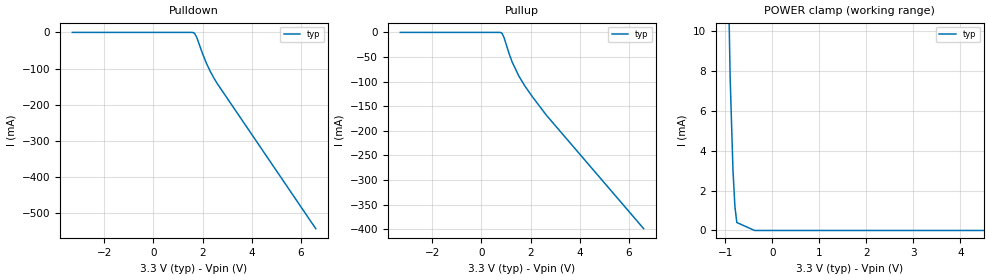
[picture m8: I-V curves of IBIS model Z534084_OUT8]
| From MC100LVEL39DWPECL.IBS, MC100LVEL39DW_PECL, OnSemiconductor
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| (C) COPYRIGHT 1993-2000
| MENTOR GRAPHICS CORPORATION
| ICX STANDARD LIBRARY, ICX PROJECT MODELING,
| ICX CUSTOM MODELING, ICX VENDOR MODEL
| ALL RIGHTS RESERVED.
| THE FOLLOWING ARE TRADEMARKS OR SERVICE MARKS OF
| MENTOR GRAPHICS CORPORATION:ICX (R), ICX STANDARD
| LIBRARY(R), ICX PROJECT MODELING(R), ICX CUSTOM
| MODELING(R), qualityIBIS(TM), MODELVIEWER(TM),
| AND MODELEDITOR(TM)
| ALL COPIES OF SOFTWARE, INCLUDING BUT NOT LIMITED TO
| ANY MODIFICATIONS, ENHANCEMENTS OR DERIVATIVE WORKS,
| MUST CONTAIN ALL MENTOR GRAPHICS CORPORATION'S
| NOTICES AND LEGENDS, INCLUDING THOSE EMBEDDED IN
| SOFTWARE AND THOSE AFFIXED TO SOFTWARE MEDIUM
| AND CONTAINER, AS RECEIVED FROM MENTOR GRAPHICS
| CORPORATION.
| Model Application Version 1.89 2/18/99.
[Model] Z534084_OUT8
Model_type Output_ECL
Vref=1.300V
Rref=50.00ohms
Cref=0.000F
Vmeas=2.207V
C_comp 8.000pF NA NA
| variable typ   min   max
[Voltage Range] 3.300V NA NA
[POWER Clamp Reference] 3.300V NA NA
[Pullup Reference] 3.300V NA NA
[Pulldown Reference] 3.300V NA NA
[GND Clamp Reference] 0.000V NA NA
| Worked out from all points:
|   POWER clamp passes 1 mA (typ) near -0.79 V on its own axis
[GND Clamp]
-3.3V     0A         NA         NA
6.6V      0A         NA         NA
[Pulldown]
-3.3V     0A         NA         NA
1.638V    -1.1mA     NA         NA
1.678V    -3.4mA     NA         NA
1.76V     -13.8mA    NA         NA
2.003V    -60.1mA    NA         NA
2.165V    -87.2mA    NA         NA
2.307V    -107.6mA   NA         NA
2.591V    -141.4mA   NA         NA
6.6V      -543.4mA   NA         NA
[Pullup]
-3.3V     0A         NA         NA
725mV     0A         NA         NA
826mV     -1.3mA     NA         NA
928mV     -11.4mA    NA         NA
1.131V    -43.8mA    NA         NA
1.252V    -60.2mA    NA         NA
1.516V    -88mA      NA         NA
1.76V     -108.3mA   NA         NA
2.064V    -130.1mA   NA         NA
2.652V    -168.9mA   NA         NA
6.6V      -399mA     NA         NA
[POWER Clamp]
-3.3V     524.5mA    NA         NA
-1.02V    23.5mA     NA         NA
-899mV    7.7mA      NA         NA
-838mV    3mA        NA         NA
-797mV    1.2mA      NA         NA
-757mV    400uA      NA         NA
-378.5mV  0A         NA         NA
6.6V      0A         NA         NA
[Ramp]
| variable typ min max
dV/dt_r 482.0m/214.8p NA NA
dV/dt_f 482.0m/206.2p NA NA
R_load = 500.0Ohms
